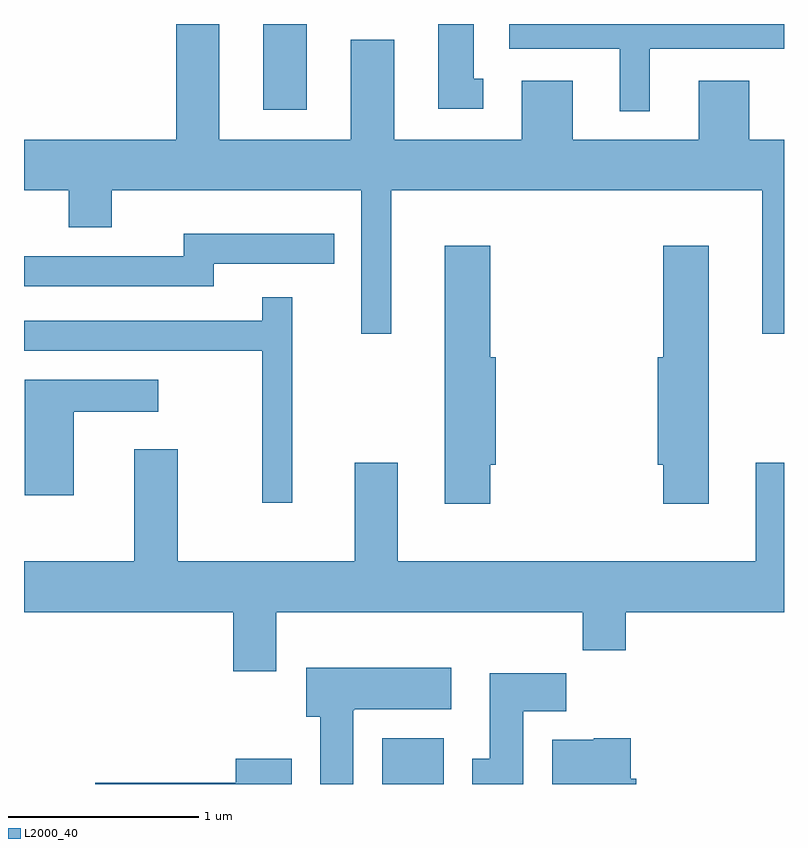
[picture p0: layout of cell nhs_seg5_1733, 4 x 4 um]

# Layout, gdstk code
import gdstk
lib = gdstk.Library(unit=1e-6, precision=1e-09)
def R(c, l, rs):  # rectangles x0, y0, x1, y1
    for r in rs: c.add(gdstk.rectangle(r[:2], r[2:], *l))
def P(c, l, *ps):  # polygons
    for p in ps: c.add(gdstk.Polygon(p, *l))
L2000_40 = (2000, 40)

nhs_seg5_1733 = lib.new_cell('nhs_seg5_1733')
R(nhs_seg5_1733, L2000_40, [(237.496,1498.072,237.819,1498.314), (236.871,1501.621,237.099,1502.072)])
P(nhs_seg5_1733, L2000_40, [(238.028,1501.784),(237.979,1501.784),(237.979,1502.072),(237.791,1502.072),(237.791,1501.626),(238.028,1501.626)],
  [(238.904,1501.941),(239.611,1501.941),(239.611,1502.072),(238.166,1502.072),(238.166,1501.941),(238.746,1501.941),(238.746,1501.613),(238.904,1501.613)],
  [(237.331,1501.464),(236.639,1501.464),(236.639,1502.072),(236.411,1502.072),(236.411,1501.464),(235.611,1501.464),(235.611,1501.196),(235.846,1501.196),(235.846,1501.001),(236.074,1501.001),(236.074,1501.196),(237.386,1501.196),(237.386,1500.443),(237.544,1500.443),(237.544,1501.196),(239.496,1501.196),(239.496,1500.443),(239.611,1500.443),(239.611,1501.464),(239.429,1501.464),(239.429,1501.774),(239.161,1501.774),(239.161,1501.464),(238.499,1501.464),(238.499,1501.774),(238.231,1501.774),(238.231,1501.464),(237.559,1501.464),(237.559,1501.989),(237.331,1501.989)],
  [(236.609,1500.811),(237.243,1500.811),(237.243,1500.969),(236.451,1500.969),(236.451,1500.849),(235.611,1500.849),(235.611,1500.691),(236.609,1500.691)],
  [(238.064,1499.751),(238.094,1499.751),(238.094,1500.319),(238.064,1500.319),(238.064,1500.904),(237.826,1500.904),(237.826,1499.546),(238.064,1499.546)],
  [(239.214,1500.904),(238.976,1500.904),(238.976,1500.319),(238.946,1500.319),(238.946,1499.751),(238.976,1499.751),(238.976,1499.546),(239.214,1499.546)],
  [(237.024,1500.633),(236.866,1500.633),(236.866,1500.509),(235.611,1500.509),(235.611,1500.351),(236.866,1500.351),(236.866,1499.553),(237.024,1499.553)],
  [(235.874,1500.031),(236.318,1500.031),(236.318,1500.199),(235.616,1500.199),(235.616,1499.591),(235.874,1499.591)],
  [(236.939,1498.976),(238.551,1498.976),(238.551,1498.776),(238.779,1498.776),(238.779,1498.976),(239.611,1498.976),(239.611,1499.764),(239.461,1499.764),(239.461,1499.244),(237.579,1499.244),(237.579,1499.764),(237.351,1499.764),(237.351,1499.244),(236.419,1499.244),(236.419,1499.834),(236.191,1499.834),(236.191,1499.244),(235.611,1499.244),(235.611,1498.976),(236.711,1498.976),(236.711,1498.666),(236.939,1498.666)],
  [(237.344,1498.46),(237.35,1498.46),(237.35,1498.466),(237.859,1498.466),(237.859,1498.684),(237.096,1498.684),(237.096,1498.426),(237.171,1498.426),(237.171,1498.072),(237.344,1498.072)],
  [(238.239,1498.456),(238.464,1498.456),(238.464,1498.654),(238.061,1498.654),(238.061,1498.204),(237.971,1498.204),(237.971,1498.072),(238.239,1498.072)],
  [(238.834,1498.099),(238.804,1498.099),(238.804,1498.314),(238.61,1498.314),(238.61,1498.304),(238.391,1498.304),(238.391,1498.072),(238.834,1498.072)],
  [(237.019,1498.204),(236.726,1498.204),(236.726,1498.079),(235.986,1498.079),(235.986,1498.072),(237.019,1498.072)])

lib.write_gds('nhs_seg5_1733.gds')
